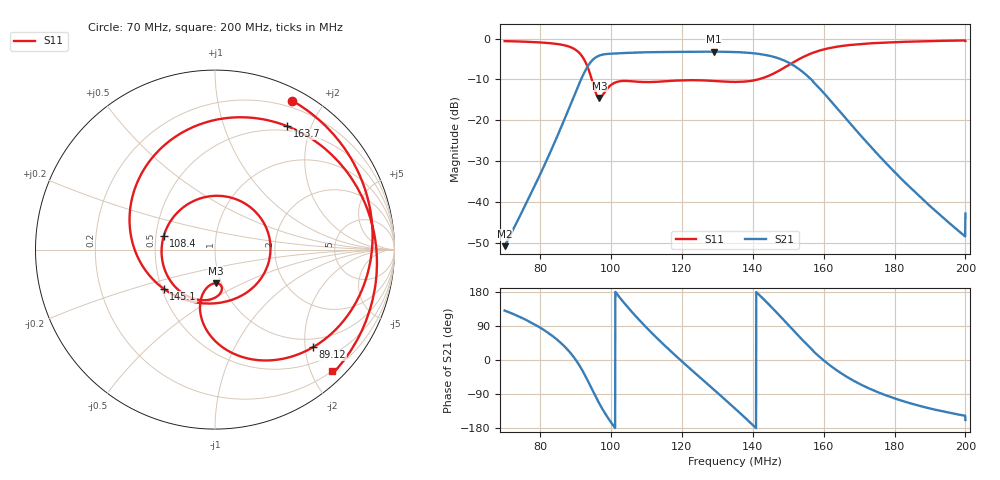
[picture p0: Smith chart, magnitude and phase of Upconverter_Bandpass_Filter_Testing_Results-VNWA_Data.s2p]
! ListType=Lin
# MHZ S DB R 50
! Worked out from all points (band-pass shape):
!   2048 points, 70 MHz to 200 MHz, reference 50 ohm
!   highest |S21| = -3.18 dB at 129 MHz (marker M1); lowest = -50.9 dB at 70 MHz (marker M2)
!   |S21| within 3 dB of the highest: 93.91 MHz to 150.8 MHz (56.89 MHz wide, 46.5 % of centre)
!   lowest |S11| = -14.6 dB at 96.74 MHz (marker M3), VSWR 1.46, Z = 47.1 - j18.2 ohm
!   |S11| at or under -10 dB: 94.59 MHz to 141.4 MHz (46.85 MHz wide, 39.7 % of centre)
!   S12 and S22 are empty: the file has one direction only
!   S11 on the Smith chart (normalised r, x): 70 MHz: 0.13, +1.64; 89.12 MHz: 0.81, -2.17; 108.4 MHz: 0.55, +0.09; 145.1 MHz: 0.51, -0.26; 163.7 MHz: 0.44, +1.66; 200 MHz: 0.20, -2.34
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70  -0.59 62.5  -50.87 130.5  -3000.00 -90.0  -3000.00 -90.0
82.32047  -1.06 8.2  -28.93 71.4  -3000.00 -90.0  -3000.00 -90.0
89.11578  -2.26 -44.9  -15.03 12.4  -3000.00 -90.0  -3000.00 -90.0
91.71959  -4.14 -75.2  -9.68 -24.0  -3000.00 -90.0  -3000.00 -90.0
93.87885  -8.02 -100.6  -6.22 -62.5  -3000.00 -90.0  -3000.00 -90.0
96.73669  -14.56 -88.5  -4.13 -115.2  -3000.00 -90.0  -3000.00 -90.0
99.14998  -12.05 -84.2  -3.72 -152.6  -3000.00 -90.0  -3000.00 -90.0
101.6903  -10.59 -109.3  -3.59 174.3  -3000.00 -90.0  -3000.00 -90.0
108.4221  -10.59 164.7  -3.36 101.2  -3000.00 -90.0  -3000.00 -90.0
113.3757  -10.54 104.7  -3.28 54.2  -3000.00 -90.0  -3000.00 -90.0
120.7426  -10.18 33.3  -3.22 -9.7  -3000.00 -90.0  -3000.00 -90.0
128.9985  -10.36 -28.7  -3.18 -77.9  -3000.00 -90.0  -3000.00 -90.0
135.0318  -10.59 -68.5  -3.27 -128.2  -3000.00 -90.0  -3000.00 -90.0
140.1759  -10.24 -103.7  -3.56 -173.0  -3000.00 -90.0  -3000.00 -90.0
145.066  -8.88 -142.7  -4.26 141.7  -3000.00 -90.0  -3000.00 -90.0
149.956  -6.56 172.2  -5.79 93.5  -3000.00 -90.0  -3000.00 -90.0
156.6878  -3.55 109.9  -10.15 28.1  -3000.00 -90.0  -3000.00 -90.0
163.6737  -1.97 59.6  -16.91 -27.0  -3000.00 -90.0  -3000.00 -90.0
170.342  -1.31 26.3  -23.62 -64.0  -3000.00 -90.0  -3000.00 -90.0
178.3439  -0.90 -1.6  -31.18 -95.8  -3000.00 -90.0  -3000.00 -90.0
199.3014  -0.44 -44.3  -48.02 -146.2  -3000.00 -90.0  -3000.00 -90.0
200  -0.54 -46.0  -42.87 -158.2  -3000.00 -90.0  -3000.00 -90.0
